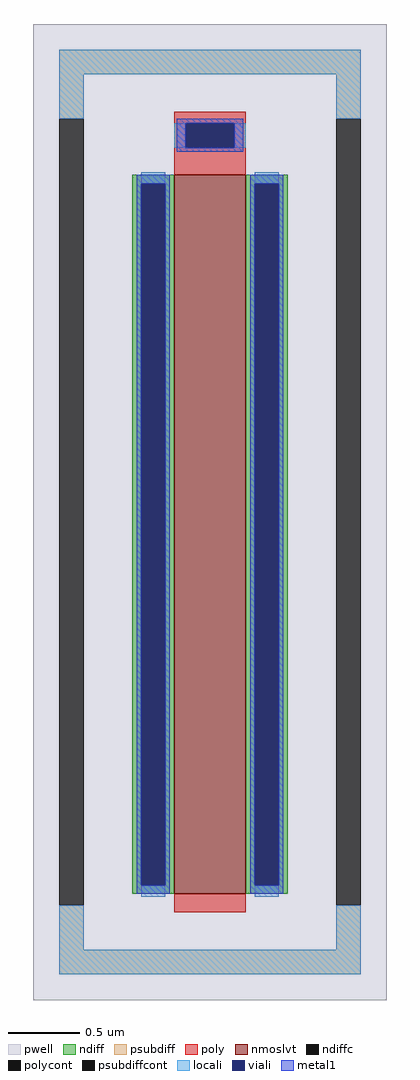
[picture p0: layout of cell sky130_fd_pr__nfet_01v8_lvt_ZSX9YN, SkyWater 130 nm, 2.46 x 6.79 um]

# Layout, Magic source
magic
tech sky130A
magscale 1 2
<< pwell >>
rect -246 -679 246 679
<< nmoslvt >>
rect -50 -531 50 469
<< ndiff >>
rect -108 457 -50 469
rect -108 -519 -96 457
rect -62 -519 -50 457
rect -108 -531 -50 -519
rect 50 457 108 469
rect 50 -519 62 457
rect 96 -519 108 457
rect 50 -531 108 -519
<< ndiffc >>
rect -96 -519 -62 457
rect 62 -519 96 457
<< psubdiff >>
rect -210 609 210 643
rect -210 547 -176 609
rect 176 547 210 609
rect -210 -609 -176 -547
rect 176 -609 210 -547
rect -210 -643 210 -609
<< psubdiffcont >>
rect -210 -547 -176 547
rect 176 -547 210 547
<< poly >>
rect -50 541 50 557
rect -50 507 -34 541
rect 34 507 50 541
rect -50 469 50 507
rect -50 -557 50 -531
<< polycont >>
rect -34 507 34 541
<< locali >>
rect -210 609 210 643
rect -210 547 -176 609
rect 176 547 210 609
rect -50 507 -34 541
rect 34 507 50 541
rect -96 457 -62 473
rect -96 -535 -62 -519
rect 62 457 96 473
rect 62 -535 96 -519
rect -210 -609 -176 -547
rect 176 -609 210 -547
rect -210 -643 210 -609
<< viali >>
rect -34 507 34 541
rect -96 -519 -62 457
rect 62 -519 96 457
<< metal1 >>
rect -46 541 46 547
rect -46 507 -34 541
rect 34 507 46 541
rect -46 501 46 507
rect -102 457 -56 469
rect -102 -519 -96 457
rect -62 -519 -56 457
rect -102 -531 -56 -519
rect 56 457 102 469
rect 56 -519 62 457
rect 96 -519 102 457
rect 56 -531 102 -519
<< properties >>
string FIXED_BBOX -193 -626 193 626
string gencell sky130_fd_pr__nfet_01v8_lvt
string library sky130
string parameters w 5 l 0.5 m 1 nf 1 diffcov 100 polycov 100 guard 1 glc 1 grc 1 gtc 0 gbc 0 tbcov 100 rlcov 100 topc 1 botc 0 poverlap 0 doverlap 1 lmin 0.15 wmin 0.42 compatible {sky130_fd_pr__nfet_01v8 sky130_fd_pr__nfet_01v8_lvt  sky130_fd_bs_flash__special_sonosfet_star  sky130_fd_pr__nfet_g5v0d10v5 sky130_fd_pr__nfet_05v0_nvt  sky130_fd_pr__nfet_03v3_nvt} full_metal 1 viasrc 100 viadrn 100 viagate 100 viagb 0 viagr 0 viagl 0 viagt 0
<< end >>
